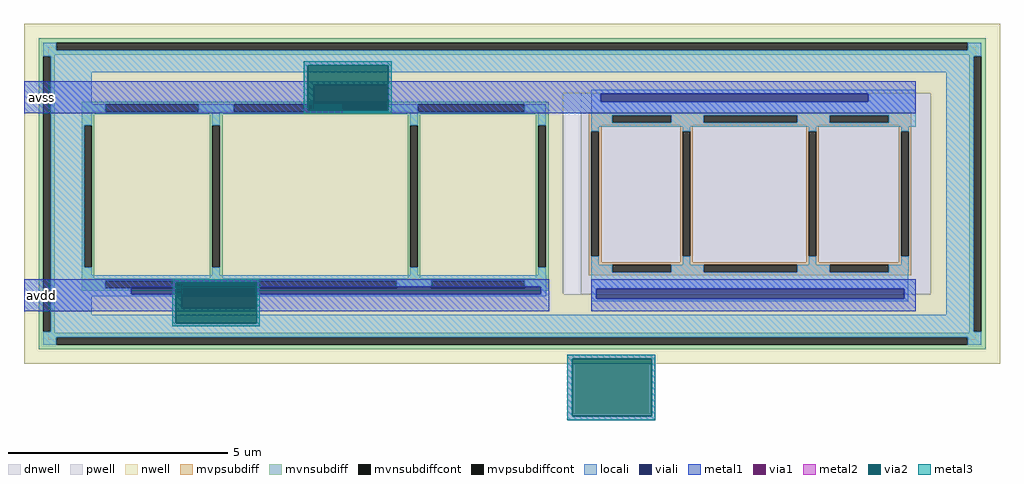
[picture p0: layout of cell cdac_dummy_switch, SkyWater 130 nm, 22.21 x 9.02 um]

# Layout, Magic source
magic
tech sky130A
magscale 1 2
<< dnwell >>
rect 44121 -15586 48345 -14252
<< nwell >>
rect 44011 -14464 48454 -14149
rect 44011 -15380 46465 -14464
rect 48139 -15380 48454 -14464
rect 44011 -15695 48454 -15380
<< pwell >>
rect 46546 -15380 48139 -14464
<< mvpsubdiff >>
rect 46582 -14564 48050 -14552
rect 46582 -14598 46690 -14564
rect 46958 -14598 47106 -14564
rect 47532 -14598 47680 -14564
rect 47948 -14598 48050 -14564
rect 46582 -14610 48050 -14598
rect 46582 -14638 46640 -14610
rect 46582 -15206 46594 -14638
rect 46628 -15206 46640 -14638
rect 46582 -15234 46640 -15206
rect 46998 -14638 47056 -14610
rect 46998 -15206 47010 -14638
rect 47044 -15206 47056 -14638
rect 46998 -15234 47056 -15206
rect 47572 -14638 47630 -14610
rect 47572 -15206 47584 -14638
rect 47618 -15206 47630 -14638
rect 47572 -15234 47630 -15206
rect 47992 -14638 48050 -14610
rect 47992 -15206 48004 -14638
rect 48038 -15206 48050 -14638
rect 47992 -15234 48050 -15206
rect 46582 -15246 48050 -15234
rect 46582 -15280 46690 -15246
rect 46958 -15280 47106 -15246
rect 47532 -15280 47680 -15246
rect 47948 -15280 48050 -15246
rect 46582 -15292 48050 -15280
<< mvnsubdiff >>
rect 44078 -14235 48388 -14215
rect 44078 -14269 44158 -14235
rect 48308 -14269 48388 -14235
rect 44078 -14289 48388 -14269
rect 44078 -14295 44152 -14289
rect 44078 -15549 44098 -14295
rect 44132 -15549 44152 -14295
rect 48314 -14295 48388 -14289
rect 44273 -14514 46399 -14502
rect 44273 -14548 44381 -14514
rect 44807 -14548 44965 -14514
rect 45463 -14548 45803 -14514
rect 46291 -14548 46399 -14514
rect 44273 -14560 46399 -14548
rect 44273 -14610 44331 -14560
rect 44273 -15256 44285 -14610
rect 44319 -15256 44331 -14610
rect 44273 -15306 44331 -15256
rect 44857 -14610 44915 -14560
rect 44857 -15256 44869 -14610
rect 44903 -15256 44915 -14610
rect 44857 -15306 44915 -15256
rect 45757 -14610 45815 -14560
rect 45757 -15256 45769 -14610
rect 45803 -15256 45815 -14610
rect 45757 -15306 45815 -15256
rect 46341 -14610 46399 -14560
rect 46341 -15256 46353 -14610
rect 46387 -15256 46399 -14610
rect 46341 -15306 46399 -15256
rect 44273 -15318 46399 -15306
rect 44273 -15352 44381 -15318
rect 45707 -15352 45865 -15318
rect 46291 -15352 46399 -15318
rect 44273 -15364 46399 -15352
rect 44078 -15555 44152 -15549
rect 48314 -15549 48334 -14295
rect 48368 -15549 48388 -14295
rect 48314 -15555 48388 -15549
rect 44078 -15575 48388 -15555
rect 44078 -15609 44158 -15575
rect 48308 -15609 48388 -15575
rect 44078 -15629 48388 -15609
<< mvpsubdiffcont >>
rect 46690 -14598 46958 -14564
rect 47106 -14598 47532 -14564
rect 47680 -14598 47948 -14564
rect 46594 -15206 46628 -14638
rect 47010 -15206 47044 -14638
rect 47584 -15206 47618 -14638
rect 48004 -15206 48038 -14638
rect 46690 -15280 46958 -15246
rect 47106 -15280 47532 -15246
rect 47680 -15280 47948 -15246
<< mvnsubdiffcont >>
rect 44158 -14269 48308 -14235
rect 44098 -15549 44132 -14295
rect 44381 -14548 44807 -14514
rect 44965 -14548 45463 -14514
rect 45803 -14548 46291 -14514
rect 44285 -15256 44319 -14610
rect 44869 -15256 44903 -14610
rect 45769 -15256 45803 -14610
rect 46353 -15256 46387 -14610
rect 44381 -15352 45707 -15318
rect 45865 -15352 46291 -15318
rect 48334 -15549 48368 -14295
rect 44158 -15609 48308 -15575
<< locali >>
rect 44098 -14269 44158 -14235
rect 48308 -14269 48368 -14235
rect 44098 -14295 48368 -14269
rect 44132 -14369 48334 -14295
rect 44132 -14514 44319 -14369
rect 46594 -14467 48071 -14449
rect 46594 -14504 46637 -14467
rect 47854 -14504 48071 -14467
rect 44132 -14548 44381 -14514
rect 44807 -14548 44965 -14514
rect 45463 -14548 45803 -14514
rect 46291 -14548 46387 -14514
rect 44132 -14610 44319 -14548
rect 44132 -15256 44285 -14610
rect 44132 -15294 44319 -15256
rect 44869 -14610 44903 -14548
rect 44869 -15294 44903 -15256
rect 45769 -14610 45803 -14548
rect 45769 -15294 45803 -15256
rect 46353 -14610 46387 -14548
rect 46353 -15294 46387 -15256
rect 46594 -14564 48071 -14504
rect 46594 -14598 46690 -14564
rect 46958 -14598 47106 -14564
rect 47532 -14598 47680 -14564
rect 47948 -14598 48071 -14564
rect 46594 -14618 48071 -14598
rect 46594 -14638 46628 -14618
rect 46594 -15246 46628 -15206
rect 47010 -14638 47044 -14618
rect 47010 -15246 47044 -15206
rect 47584 -14638 47618 -14618
rect 47584 -15246 47618 -15206
rect 48004 -14638 48038 -14618
rect 48004 -15246 48038 -15206
rect 46594 -15280 46690 -15246
rect 46958 -15280 47106 -15246
rect 47532 -15280 47680 -15246
rect 47948 -15280 48038 -15246
rect 44132 -15318 46388 -15294
rect 44132 -15352 44381 -15318
rect 45707 -15345 45865 -15318
rect 46291 -15345 46388 -15318
rect 44132 -15380 44500 -15352
rect 46363 -15380 46388 -15345
rect 44132 -15388 46388 -15380
rect 46594 -15355 48036 -15280
rect 44132 -15473 44319 -15388
rect 46594 -15401 46616 -15355
rect 48018 -15401 48036 -15355
rect 46594 -15411 48036 -15401
rect 48210 -15473 48334 -14369
rect 44132 -15549 48334 -15473
rect 44098 -15575 48368 -15549
rect 44098 -15609 44158 -15575
rect 48308 -15609 48368 -15575
<< viali >>
rect 46637 -14504 47854 -14467
rect 44500 -15352 45707 -15345
rect 45707 -15352 45865 -15345
rect 45865 -15352 46291 -15345
rect 46291 -15352 46363 -15345
rect 44500 -15380 46363 -15352
rect 46616 -15401 48018 -15355
<< metal1 >>
rect 44011 -14426 48071 -14409
rect 44011 -14543 45331 -14426
rect 45670 -14467 48071 -14426
rect 45670 -14504 46637 -14467
rect 47854 -14504 48071 -14467
rect 45670 -14543 48071 -14504
rect 44011 -14555 48071 -14543
rect 44011 -15325 46402 -15311
rect 44011 -15345 44729 -15325
rect 45070 -15345 46402 -15325
rect 44011 -15380 44500 -15345
rect 46363 -15380 46402 -15345
rect 44011 -15444 44729 -15380
rect 45070 -15444 46402 -15380
rect 44011 -15457 46402 -15444
rect 46594 -15355 48070 -15311
rect 46594 -15401 46616 -15355
rect 48018 -15401 48070 -15355
rect 46594 -15457 48070 -15401
<< via1 >>
rect 45331 -14543 45670 -14426
rect 44729 -15345 45070 -15325
rect 44729 -15380 45070 -15345
rect 44729 -15444 45070 -15380
<< metal2 >>
rect 45285 -14336 45685 -14318
rect 45285 -14543 45302 -14336
rect 45670 -14543 45685 -14336
rect 45285 -14555 45685 -14543
rect 44685 -15325 45085 -15311
rect 44685 -15512 44701 -15325
rect 45070 -15512 45085 -15325
rect 44685 -15525 45085 -15512
rect 46485 -15673 46885 -15655
rect 46485 -15935 46506 -15673
rect 46868 -15935 46885 -15673
rect 46485 -15952 46885 -15935
<< via2 >>
rect 45302 -14426 45670 -14336
rect 45302 -14543 45331 -14426
rect 45331 -14543 45670 -14426
rect 44701 -15444 44729 -15325
rect 44729 -15444 45070 -15325
rect 44701 -15512 45070 -15444
rect 46506 -15935 46868 -15673
<< metal3 >>
rect 45285 -14336 45685 -14318
rect 45285 -14543 45302 -14336
rect 45670 -14543 45685 -14336
rect 45285 -14555 45685 -14543
rect 44685 -15325 45085 -15311
rect 44685 -15512 44701 -15325
rect 45070 -15512 45085 -15325
rect 44685 -15525 45085 -15512
rect 46485 -15673 46885 -15655
rect 46485 -15935 46506 -15673
rect 46868 -15935 46885 -15673
rect 46485 -15952 46885 -15935
<< labels >>
flabel metal1 44011 -14555 44167 -14409 0 FreeSans 800 0 0 0 avss
port 5 nsew
flabel metal1 44011 -15457 44167 -15311 0 FreeSans 800 0 0 0 avdd
port 4 nsew
<< end >>
